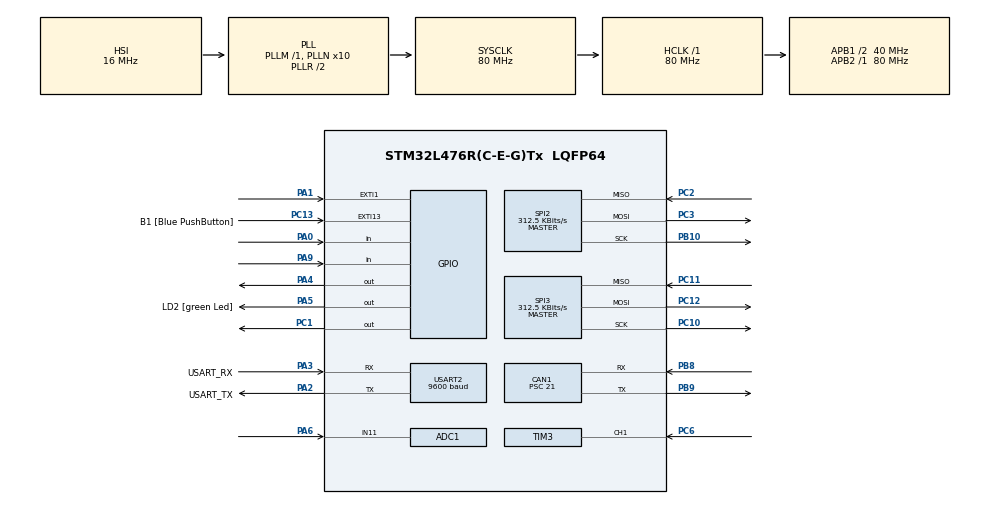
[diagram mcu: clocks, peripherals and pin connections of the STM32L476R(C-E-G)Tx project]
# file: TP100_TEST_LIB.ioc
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ADC1.Channel-0\#ChannelRegularConversion=ADC_CHANNEL_11
ADC1.NbrOfConversionFlag=1
ADC1.OffsetNumber-0\#ChannelRegularConversion=ADC_OFFSET_NONE
ADC1.Rank-0\#ChannelRegularConversion=1
ADC1.Resolution=ADC_RESOLUTION_12B
ADC1.SamplingTime-0\#ChannelRegularConversion=ADC_SAMPLETIME_2CYCLES_5
ADC1.master=1
CAN1.BS1=CAN_BS1_12TQ
CAN1.BS2=CAN_BS2_4TQ
CAN1.CalculateTimeQuantum=525.0
CAN1.Prescaler=21
FREERTOS.Tasks01=defaultTask,-2,128,StartDefaultTask,Default,NULL,Dynamic,NULL,NULL;TP100,0,128,TP100_Test,Default,NULL,Dynamic,NULL,NULL;TBreakOut,0,128,TBreakOut_Init,Default,NULL,Dynamic,NULL,NULL;ACC_Read,0,128,ACC_Read_Init,Default,NULL,Dynamic,NULL,NULL;Vibration_Test,0,128,Vibration_Test_Init,Default,NULL,Dynamic,NULL,NULL
FREERTOS.configTOTAL_HEAP_SIZE=10000
Mcu.Family=STM32L4
Mcu.Name=STM32L476R(C-E-G)Tx
Mcu.Package=LQFP64
NVIC.CAN1_RX0_IRQn=true\:5\:0\:false\:false\:true\:true\:true\:true
NVIC.EXTI1_IRQn=true\:5\:0\:false\:false\:true\:true\:true\:true
NVIC.PriorityGroup=NVIC_PRIORITYGROUP_4
NVIC.TIM1_UP_TIM16_IRQn=true\:0\:0\:false\:false\:true\:false\:false\:true
NVIC.TimeBase=TIM1_UP_TIM16_IRQn
NVIC.TimeBaseIP=TIM1
PA0.Signal=GPIO_Input
PA1.Signal=GPXTI1
PA13\ (JTMS-SWDIO).GPIO_Label=TMS
PA13\ (JTMS-SWDIO).Mode=Serial_Wire
PA13\ (JTMS-SWDIO).Signal=SYS_JTMS-SWDIO
PA14\ (JTCK-SWCLK).GPIO_Label=TCK
PA14\ (JTCK-SWCLK).Mode=Serial_Wire
PA14\ (JTCK-SWCLK).Signal=SYS_JTCK-SWCLK
PA2.GPIO_Label=USART_TX
PA2.GPIO_Mode=GPIO_MODE_AF_PP
PA2.GPIO_PuPd=GPIO_NOPULL
PA2.GPIO_Speed=GPIO_SPEED_FREQ_VERY_HIGH
PA2.Mode=Asynchronous
PA2.Signal=USART2_TX
PA3.GPIO_Label=USART_RX
PA3.GPIO_Mode=GPIO_MODE_AF_PP
PA3.GPIO_PuPd=GPIO_NOPULL
PA3.GPIO_Speed=GPIO_SPEED_FREQ_VERY_HIGH
PA3.Mode=Asynchronous
PA3.Signal=USART2_RX
PA4.Signal=GPIO_Output
PA5.GPIO_Label=LD2 [green Led]
PA5.GPIO_ModeDefaultOutputPP=GPIO_MODE_OUTPUT_PP
PA5.GPIO_PuPd=GPIO_NOPULL
PA5.GPIO_Speed=GPIO_SPEED_FREQ_LOW
PA5.Signal=GPIO_Output
PA6.Signal=ADCx_IN11
PA9.Signal=GPIO_Input
PB10.Mode=Full_Duplex_Master
PB10.Signal=SPI2_SCK
PB3\ (JTDO-TRACESWO).GPIO_Label=SWO
PB3\ (JTDO-TRACESWO).Signal=SYS_JTDO-SWO
PB8.Mode=Master
PB8.Signal=CAN1_RX
PB9.Mode=Master
PB9.Signal=CAN1_TX
PC1.Signal=GPIO_Output
PC10.Mode=Full_Duplex_Master
PC10.Signal=SPI3_SCK
PC11.Mode=Full_Duplex_Master
PC11.Signal=SPI3_MISO
PC12.Mode=Full_Duplex_Master
PC12.Signal=SPI3_MOSI
PC13.GPIO_Label=B1 [Blue PushButton]
PC13.GPIO_ModeDefaultEXTI=GPIO_MODE_IT_FALLING
PC13.GPIO_PuPd=GPIO_NOPULL
PC13.Signal=GPXTI13
PC14-OSC32_IN\ (PC14).Mode=LSE-External-Oscillator
PC14-OSC32_IN\ (PC14).Signal=RCC_OSC32_IN
PC15-OSC32_OUT\ (PC15).Mode=LSE-External-Oscillator
PC15-OSC32_OUT\ (PC15).Signal=RCC_OSC32_OUT
PC2.Mode=Full_Duplex_Master
PC2.Signal=SPI2_MISO
PC3.Mode=Full_Duplex_Master
PC3.Signal=SPI2_MOSI
PC6.Signal=S_TIM3_CH1
PH0-OSC_IN\ (PH0).Mode=HSE-External-Oscillator
PH0-OSC_IN\ (PH0).Signal=RCC_OSC_IN
PH1-OSC_OUT\ (PH1).Mode=HSE-External-Oscillator
PH1-OSC_OUT\ (PH1).Signal=RCC_OSC_OUT
ProjectManager.HeapSize=0x200
ProjectManager.StackSize=0x400
ProjectManager.TargetToolchain=STM32CubeIDE
RCC.ADCFreq_Value=64000000
RCC.AHBFreq_Value=80000000
RCC.APB1CLKDivider=RCC_HCLK_DIV2
RCC.APB1Freq_Value=40000000
RCC.APB1TimFreq_Value=80000000
RCC.APB2Freq_Value=80000000
RCC.APB2TimFreq_Value=80000000
RCC.CortexFreq_Value=80000000
RCC.HCLKFreq_Value=80000000
RCC.HSE_VALUE=8000000
RCC.HSI_VALUE=16000000
RCC.MSI_VALUE=4000000
RCC.PLLN=10
RCC.PLLSourceVirtual=RCC_PLLSOURCE_HSI
RCC.PREFETCH_ENABLE=1
RCC.SYSCLKFreq_VALUE=80000000
RCC.SYSCLKSource=RCC_SYSCLKSOURCE_PLLCLK
RCC.USBFreq_Value=64000000
RCC.VCOOutputFreq_Value=160000000
SH.ADCx_IN11.0=ADC1_IN11,IN11-Single-Ended
SH.S_TIM3_CH1.0=TIM3_CH1,Input_Capture1_from_TI1
SPI2.BaudRatePrescaler=SPI_BAUDRATEPRESCALER_128
SPI2.CLKPhase=SPI_PHASE_2EDGE
SPI2.CalculateBaudRate=312.5 KBits/s
SPI2.DataSize=SPI_DATASIZE_8BIT
SPI2.Direction=SPI_DIRECTION_2LINES
SPI2.Mode=SPI_MODE_MASTER
SPI2.VirtualType=VM_MASTER
SPI3.BaudRatePrescaler=SPI_BAUDRATEPRESCALER_128
SPI3.CLKPhase=SPI_PHASE_2EDGE
SPI3.CalculateBaudRate=312.5 KBits/s
SPI3.DataSize=SPI_DATASIZE_8BIT
SPI3.Direction=SPI_DIRECTION_2LINES
SPI3.Mode=SPI_MODE_MASTER
SPI3.VirtualType=VM_MASTER
TIM3.Channel-Input_Capture1_from_TI1=TIM_CHANNEL_1
USART2.BaudRate=9600
USART2.VirtualMode-Asynchronous=VM_ASYNC
VP_FREERTOS_VS_CMSIS_V1.Mode=CMSIS_V1
VP_SYS_VS_tim1.Mode=TIM1
VP_TIM3_VS_ClockSourceINT.Mode=Internal
board=NUCLEO-L476RG

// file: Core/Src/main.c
/* USER CODE BEGIN Header */
/**
  ******************************************************************************
  * @file           : main.c
  * @brief          : Main program body
  ******************************************************************************
  * @attention
  *
  * <h2><center>&copy; Copyright (c) 2020 STMicroelectronics.
  * All rights reserved.</center></h2>
  *
  * This software component is licensed by ST under BSD 3-Clause license,
  * the "License"; You may not use this file except in compliance with the
  * License. You may obtain a copy of the License at:
  *                        opensource.org/licenses/BSD-3-Clause
  *
  ******************************************************************************
  */
/* USER CODE END Header */

#include "main.h"
#include "cmsis_os.h"
#include "adc.h"
#include "can.h"
#include "spi.h"
#include "tim.h"
#include "usart.h"
#include "gpio.h"

/* USER CODE BEGIN Includes */
#include "MAX31865.h"
#include <string.h>
#include <stdio.h>
#include "ADXL.h"
/* USER CODE END Includes */

void SystemClock_Config(void);
void MX_FREERTOS_Init(void);
/* USER CODE BEGIN PFP */
void serialMsg(char msg[]);
void serialClear(void);
void HAL_CAN_RxFifo0FullCallBack(CAN_HandleTypeDef *hcan);
void CAN_filterConfig(void);
void CAN_Tx(char msg[]);
void CAN_Rx(void);

/* USER CODE END PFP */

/* USER CODE BEGIN 0 */
CAN_HandleTypeDef hcan1;
CAN_TxHeaderTypeDef TxHeader;
CAN_RxHeaderTypeDef RxHeader;
uint32_t TxMailBox;
uint8_t state, a, r, retval;
uint16_t OwnID = 0x124, RemoteID = 0x123;

Max31865_t  pt100;
bool        pt100isOK;
float       pt100Temp;
adxlStatus adxStat;
//ADXL_InitTypeDef * adxl;
/* USER CODE END 0 */

int main(void)
{

  /* MCU Configuration--------------------------------------------------------*/

  /* Reset of all peripherals, Initializes the Flash interface and the Systick. */
  HAL_Init();

  /* Configure the system clock */
  SystemClock_Config();

  /* Initialize all configured peripherals */
  MX_GPIO_Init();
  MX_USART2_UART_Init();
  MX_SPI2_Init();
  MX_ADC1_Init();
  MX_SPI3_Init();
  MX_CAN1_Init();
  MX_TIM3_Init();
  /* USER CODE BEGIN 2 */

  CAN_filterConfig();
  HAL_CAN_Start(&hcan1);
  HAL_CAN_ActivateNotification(&hcan1, CAN_IT_RX_FIFO0_MSG_PENDING);
  /* USER CODE END 2 */

  /* Call init function for freertos objects (in freertos.c) */
  MX_FREERTOS_Init();
  /* Start scheduler */
  osKernelStart();

  /* We should never get here as control is now taken by the scheduler */
  /* Infinite loop */
  while (1)
  {

  }
}

void SystemClock_Config(void)
{
  RCC_OscInitTypeDef RCC_OscInitStruct = {0};
  RCC_ClkInitTypeDef RCC_ClkInitStruct = {0};
  RCC_PeriphCLKInitTypeDef PeriphClkInit = {0};

  /** Initializes the CPU, AHB and APB busses clocks
  */
  RCC_OscInitStruct.OscillatorType = RCC_OSCILLATORTYPE_HSI;
  RCC_OscInitStruct.HSIState = RCC_HSI_ON;
  RCC_OscInitStruct.HSICalibrationValue = RCC_HSICALIBRATION_DEFAULT;
  RCC_OscInitStruct.PLL.PLLState = RCC_PLL_ON;
  RCC_OscInitStruct.PLL.PLLSource = RCC_PLLSOURCE_HSI;
  RCC_OscInitStruct.PLL.PLLM = 1;
  RCC_OscInitStruct.PLL.PLLN = 10;
  RCC_OscInitStruct.PLL.PLLP = RCC_PLLP_DIV7;
  RCC_OscInitStruct.PLL.PLLQ = RCC_PLLQ_DIV2;
  RCC_OscInitStruct.PLL.PLLR = RCC_PLLR_DIV2;
  if (HAL_RCC_OscConfig(&RCC_OscInitStruct) != HAL_OK)
  {
    Error_Handler();
  }
  /** Initializes the CPU, AHB and APB busses clocks
  */
  RCC_ClkInitStruct.ClockType = RCC_CLOCKTYPE_HCLK|RCC_CLOCKTYPE_SYSCLK
                              |RCC_CLOCKTYPE_PCLK1|RCC_CLOCKTYPE_PCLK2;
  RCC_ClkInitStruct.SYSCLKSource = RCC_SYSCLKSOURCE_PLLCLK;
  RCC_ClkInitStruct.AHBCLKDivider = RCC_SYSCLK_DIV1;
  RCC_ClkInitStruct.APB1CLKDivider = RCC_HCLK_DIV2;
  RCC_ClkInitStruct.APB2CLKDivider = RCC_HCLK_DIV1;

  if (HAL_RCC_ClockConfig(&RCC_ClkInitStruct, FLASH_LATENCY_4) != HAL_OK)
  {
    Error_Handler();
  }
  PeriphClkInit.PeriphClockSelection = RCC_PERIPHCLK_USART2|RCC_PERIPHCLK_ADC;
  PeriphClkInit.Usart2ClockSelection = RCC_USART2CLKSOURCE_PCLK1;
  PeriphClkInit.AdcClockSelection = RCC_ADCCLKSOURCE_PLLSAI1;
  PeriphClkInit.PLLSAI1.PLLSAI1Source = RCC_PLLSOURCE_HSI;
  PeriphClkInit.PLLSAI1.PLLSAI1M = 1;
  PeriphClkInit.PLLSAI1.PLLSAI1N = 8;
  PeriphClkInit.PLLSAI1.PLLSAI1P = RCC_PLLP_DIV7;
  PeriphClkInit.PLLSAI1.PLLSAI1Q = RCC_PLLQ_DIV2;
  PeriphClkInit.PLLSAI1.PLLSAI1R = RCC_PLLR_DIV2;
  PeriphClkInit.PLLSAI1.PLLSAI1ClockOut = RCC_PLLSAI1_ADC1CLK;
  if (HAL_RCCEx_PeriphCLKConfig(&PeriphClkInit) != HAL_OK)
  {
    Error_Handler();
  }
  /** Configure the main internal regulator output voltage
  */
  if (HAL_PWREx_ControlVoltageScaling(PWR_REGULATOR_VOLTAGE_SCALE1) != HAL_OK)
  {
    Error_Handler();
  }
}

/* USER CODE BEGIN 4 */
void serialMsg(char msg[]){
	HAL_UART_Transmit(&huart2, (uint8_t*)msg, strlen(msg), HAL_MAX_DELAY);
}

void serialClear(void){
	serialMsg("\n\n\n\n\n\n\n\n\n\n\n\n\n\n\n\n\n\n\n\n\n\n\n\n\n");
}

void HAL_CAN_RxFifo0FullCallBack(CAN_HandleTypeDef *hcan){
	if(hcan) return;
}

void CAN_Tx(char msg[]){

	if(sizeof(*msg)<=8){
		TxHeader.DLC = 8;
		TxHeader.IDE = CAN_ID_STD;
		TxHeader.RTR = CAN_RTR_DATA;
		TxHeader.StdId = OwnID;

		if(HAL_CAN_AddTxMessage(&hcan1, &TxHeader, (uint8_t*)msg, &TxMailBox) != HAL_OK) Error_Handler();

		while(HAL_CAN_IsTxMessagePending(&hcan1, TxMailBox));
		serialMsg("Message transmitted!\n\r");
	}
	else return;
}

void CAN_Rx(void){

	uint8_t crx[8];
	RxHeader.DLC = 8;
	RxHeader.IDE = CAN_ID_STD;
	RxHeader.RTR = CAN_RTR_DATA;
	RxHeader.StdId = RemoteID;

	if(HAL_CAN_GetRxMessage(&hcan1, CAN_RX_FIFO0, &RxHeader, crx) != HAL_OK){
		Error_Handler();
		return;
	}
	//delay(1);
	serialMsg("Received message: ");
	serialMsg((char*)crx);
	serialMsg("\n\r");

}

void CAN_filterConfig(void){
	CAN_FilterTypeDef filterConfig;
	filterConfig.FilterBank = 0;
	filterConfig.FilterActivation = ENABLE;
	filterConfig.FilterFIFOAssignment = CAN_FILTER_FIFO0;
	filterConfig.FilterIdHigh = 0x0000;
	filterConfig.FilterIdLow = 0x0000;
	filterConfig.FilterMaskIdHigh = 0x0000;
	filterConfig.FilterMaskIdLow = 0x0000;
	filterConfig.FilterMode = CAN_FILTERMODE_IDMASK;
	filterConfig.FilterScale = CAN_FILTERSCALE_32BIT;

	HAL_CAN_ConfigFilter(&hcan1, &filterConfig);
}
/* USER CODE END 4 */

 /**
  * @brief  Period elapsed callback in non blocking mode
  * @note   This function is called  when TIM1 interrupt took place, inside
  * HAL_TIM_IRQHandler(). It makes a direct call to HAL_IncTick() to increment
  * a global variable "uwTick" used as application time base.
  * @param  htim : TIM handle
  * @retval None
  */
void HAL_TIM_PeriodElapsedCallback(TIM_HandleTypeDef *htim)
{
  if (htim->Instance == TIM1) {
    HAL_IncTick();
  }
}

void Error_Handler(void)
{
  /* USER CODE BEGIN Error_Handler_Debug */
  /* User can add his own implementation to report the HAL error return state */
	serialMsg("Error happened!");
  /* USER CODE END Error_Handler_Debug */
}

/************************ (C) COPYRIGHT STMicroelectronics *****END OF FILE****/

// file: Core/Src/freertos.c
/* USER CODE BEGIN Header */
/**
  ******************************************************************************
  * File Name          : freertos.c
  * Description        : Code for freertos applications
  ******************************************************************************
  * @attention
  *
  * <h2><center>&copy; Copyright (c) 2020 STMicroelectronics.
  * All rights reserved.</center></h2>
  *
  * This software component is licensed by ST under Ultimate Liberty license
  * SLA0044, the "License"; You may not use this file except in compliance with
  * the License. You may obtain a copy of the License at:
  *                             www.st.com/SLA0044
  *
  ******************************************************************************
  */
/* USER CODE END Header */

#include "FreeRTOS.h"
#include "task.h"
#include "main.h"
#include "cmsis_os.h"

/* USER CODE BEGIN Includes */
#include "main.h"
#include "cmsis_os.h"
#include "spi.h"
#include "usart.h"
#include "gpio.h"
#include "MAX31865.h"
#include <string.h>
#include <stdio.h>
#include "adc.h"
#include "math.h"
#include "ADXL.h"
#include "stdbool.h"
#include "tim.h"
/* USER CODE END Includes */

/* USER CODE BEGIN PD */
ADXL_InitTypeDef * adxl;
adxlStatus adxlStat;
/* USER CODE END PD */

osThreadId defaultTaskHandle;
osThreadId TP100Handle;
osThreadId TBreakOutHandle;
osThreadId ACC_ReadHandle;
osThreadId Vibration_TestHandle;

void StartDefaultTask(void const * argument);
void TP100_Test(void const * argument);
void TBreakOut_Init(void const * argument);
void ACC_Read_Init(void const * argument);
void Vibration_Test_Init(void const * argument);

void MX_FREERTOS_Init(void); /* (MISRA C 2004 rule 8.1) */

/* GetIdleTaskMemory prototype (linked to static allocation support) */
void vApplicationGetIdleTaskMemory( StaticTask_t **ppxIdleTaskTCBBuffer, StackType_t **ppxIdleTaskStackBuffer, uint32_t *pulIdleTaskStackSize );

/* USER CODE BEGIN GET_IDLE_TASK_MEMORY */
static StaticTask_t xIdleTaskTCBBuffer;
static StackType_t xIdleStack[configMINIMAL_STACK_SIZE];

void vApplicationGetIdleTaskMemory( StaticTask_t **ppxIdleTaskTCBBuffer, StackType_t **ppxIdleTaskStackBuffer, uint32_t *pulIdleTaskStackSize )
{
  *ppxIdleTaskTCBBuffer = &xIdleTaskTCBBuffer;
  *ppxIdleTaskStackBuffer = &xIdleStack[0];
  *pulIdleTaskStackSize = configMINIMAL_STACK_SIZE;
  /* place for user code */
}
/* USER CODE END GET_IDLE_TASK_MEMORY */

void MX_FREERTOS_Init(void) {

  /* Create the thread(s) */
  /* definition and creation of defaultTask */
  osThreadDef(defaultTask, StartDefaultTask, osPriorityLow, 0, 128);
  defaultTaskHandle = osThreadCreate(osThread(defaultTask), NULL);

  /* definition and creation of TP100 */
  osThreadDef(TP100, TP100_Test, osPriorityNormal, 0, 128);
  TP100Handle = osThreadCreate(osThread(TP100), NULL);

  /* definition and creation of TBreakOut */
  osThreadDef(TBreakOut, TBreakOut_Init, osPriorityNormal, 0, 128);
  TBreakOutHandle = osThreadCreate(osThread(TBreakOut), NULL);

  /* definition and creation of ACC_Read */
  osThreadDef(ACC_Read, ACC_Read_Init, osPriorityNormal, 0, 128);
  ACC_ReadHandle = osThreadCreate(osThread(ACC_Read), NULL);

  /* definition and creation of Vibration_Test */
  osThreadDef(Vibration_Test, Vibration_Test_Init, osPriorityNormal, 0, 128);
  Vibration_TestHandle = osThreadCreate(osThread(Vibration_Test), NULL);

}

void StartDefaultTask(void const * argument)
{
  for(;;)
  {
    osDelay(1);
  }
}

void TP100_Test(void const * argument)
{
  /* USER CODE BEGIN TP100_Test */
	Max31865_t  pt100;
	bool        pt100isOK;
	float       pt100Temp;
	Max31865_init(&pt100,&hspi2,GPIOC,GPIO_PIN_1,2,50);
	char UART_SEND[30];
  /* Infinite loop */
  for(;;)
  {
	  	 float t;
	     pt100isOK = Max31865_readTempC(&pt100,&t);
	     pt100Temp = Max31865_Filter(t,pt100Temp,1);   //  << For Smoothing data
	     HAL_Delay(1000);
	     sprintf(UART_SEND,"Temp is %i °C \r\n",(uint8_t)pt100Temp);
	     HAL_UART_Transmit(&huart2, (uint8_t*)UART_SEND, strlen(UART_SEND), HAL_MAX_DELAY);

	     if(pt100isOK != true){
	    	 UART_SEND[20] = "Sensor Failure\r\n";
	    	 HAL_UART_Transmit(&huart2, (uint8_t*)UART_SEND, strlen(UART_SEND), HAL_MAX_DELAY);
	    	 HAL_Delay(500);
	     }
	    osDelay(1);
  }
  /* USER CODE END TP100_Test */
}

void TBreakOut_Init(void const * argument)
{
  /* USER CODE BEGIN TBreakOut_Init */
	const double balance_resistance = 72600;
	const double adc_res = 4095;
	const double beta_value = 20564;
	const double room_tempK = 294.15;
	const double room_tempR = 70000;
//---------------------------------------------------//
	volatile uint32_t value_analog;
	volatile double resistance_thermistor;
	volatile double temp_kelvin;
	volatile double temp_celcius;

	char UART_SEND[30];
  /* Infinite loop */
  for(;;)
  {

	  HAL_ADC_Start(&hadc1);

	  if (HAL_ADC_PollForConversion(&hadc1, 1000000) == HAL_OK){
		  	   	value_analog = HAL_ADC_GetValue(&hadc1);
	      }

	  resistance_thermistor = balance_resistance * ((adc_res/value_analog)-1);

	  temp_kelvin = (beta_value * room_tempK) / (beta_value + (room_tempK * log(resistance_thermistor/room_tempR)));

	  temp_celcius = temp_kelvin - 273.15;

	  sprintf(UART_SEND,"NTC Temp is %d °C \r\n",(uint8_t)temp_celcius);
	  HAL_UART_Transmit(&huart2, (uint8_t*)UART_SEND, strlen(UART_SEND), HAL_MAX_DELAY);
	  HAL_Delay(1000);
	//  UART_SEND[strlen(UART_SEND)]=0;
    osDelay(1);
  }
  /* USER CODE END TBreakOut_Init */
}

void ACC_Read_Init(void const * argument)
{
  /* USER CODE BEGIN ACC_Read_Init */
	struct adxl adxl1;
	adxl1.SPIMode = SPIMODE_4WIRE;
	adxl1.LPMode = LPMODE_NORMAL;
	adxl1.Rate = BWRATE_100;
	adxl1.Range = RANGE_8G;									//Initial configuration of the SPI and MODULE
	adxl1.Resolution = RESOLUTION_10BIT;
	adxl1.Justify = JUSTIFY_MSB;
	adxl1.AutoSleep = AUTOSLEEPOFF;
	adxl1.LinkMode = LINKMODEOFF;

	if(ADXL_Init(&adxl1) != ADXL_OK){

		 HAL_UART_Transmit(&huart2, "ACC Unit Failure", 16, HAL_MAX_DELAY);

	}
				//Sending configuration to the module

	float test_value=0;
	float acc_value[3];
	//char UART_SEND[30];
  /* Infinite loop */
  for(;;)
  {
	  ADXL_getAccel(&acc_value, test_value);
	  /*
	  sprintf(UART_SEND,"Acc X is %f °C \r\n",(double)acc_value[0]);
	  HAL_UART_Transmit(&huart2, (uint8_t*)UART_SEND, strlen(UART_SEND), HAL_MAX_DELAY);
	  HAL_Delay(600);

	  sprintf(UART_SEND,"Acc Y is %f °C \r\n",(double)acc_value[1]);
	  HAL_UART_Transmit(&huart2, (uint8_t*)UART_SEND, strlen(UART_SEND), HAL_MAX_DELAY);
	  HAL_Delay(20);

	  sprintf(UART_SEND,"Acc Z is %f °C \r\n",(double)acc_value[2]);
	  HAL_UART_Transmit(&huart2, (uint8_t*)UART_SEND, strlen(UART_SEND), HAL_MAX_DELAY);
	  HAL_Delay(20);
	  */
	//HAL_Delay(1000);
	osDelay(1);
  }
  /* USER CODE END ACC_Read_Init */
}

void Vibration_Test_Init(void const * argument)
{
  /* USER CODE BEGIN Vibration_Test_Init */
  /* Infinite loop */

	bool ifShock = false;
	uint8_t shockVal = 1;
	volatile uint16_t lastAlarm = 250;
	char UART_SEND[30];
	char ALARM[20] = "Shock detected";
  for(;;)
  {
	  /*shockVal = HAL_GPIO_ReadPin(GPIOA, GPIO_PIN_0);

	  	  if (shockVal == 0){

	  		lastAlarm = TIM3->CNT;		//Reading the timer value from the register
	  		TIM3->ARR;					//Resetting the timer register value

	  		sprintf(UART_SEND,"Time since last shock %i ms \r\n",(uint16_t)lastAlarm);
	  		HAL_UART_Transmit(&huart2, (uint8_t*)UART_SEND, strlen(UART_SEND), HAL_MAX_DELAY);
	  			if(!ifShock){

	  				HAL_UART_Transmit(&huart2, (uint8_t*)ALARM, strlen(ALARM), HAL_MAX_DELAY);
	  			}
	  	  }

*/
    osDelay(1);
  }

  /* USER CODE END Vibration_Test_Init */
}

/************************ (C) COPYRIGHT STMicroelectronics *****END OF FILE****/
